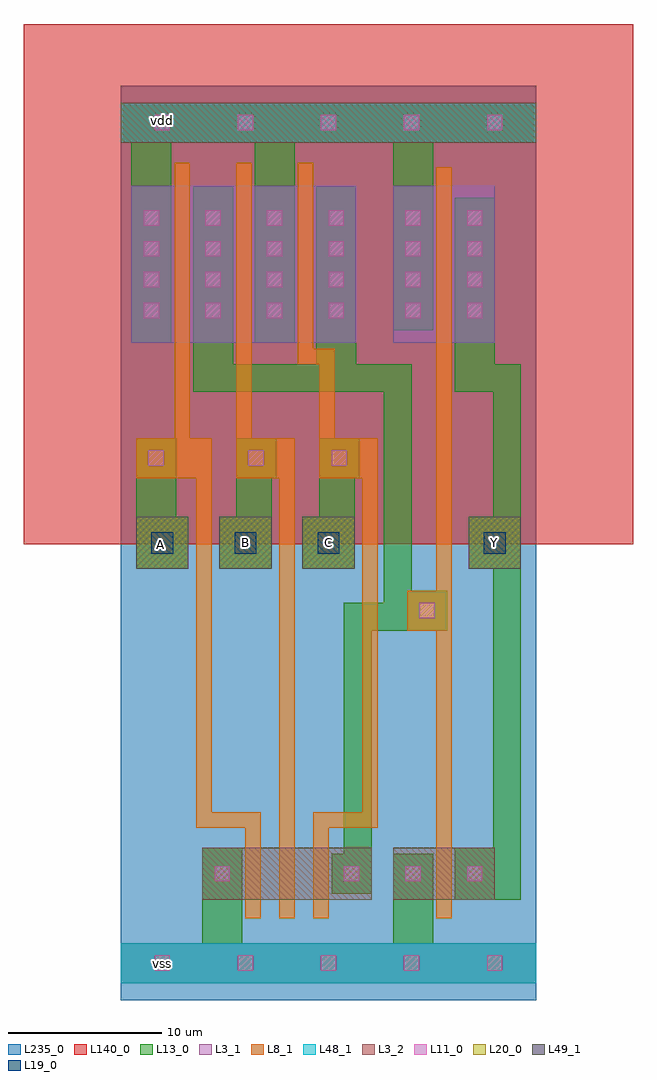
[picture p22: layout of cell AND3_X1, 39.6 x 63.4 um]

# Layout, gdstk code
import gdstk
lib = gdstk.Library(unit=1e-6, precision=1e-09)
def R(c, l, rs):  # rectangles x0, y0, x1, y1
    for r in rs: c.add(gdstk.rectangle(r[:2], r[2:], *l))
def A(c, l, x, y, w, h, nx, ny, dx, dy):  # array of equal rectangles
    R(c, l, [(x+i*dx, y+j*dy, x+i*dx+w, y+j*dy+h) for i in range(nx) for j in range(ny)])
def P(c, l, *ps):  # polygons
    for p in ps: c.add(gdstk.Polygon(p, *l))
L3_1 = (3, 1)
L3_2 = (3, 2)
L8_1 = (8, 1)
L11_0 = (11, 0)
L13_0 = (13, 0)
L19_0 = (19, 0)
L20_0 = (20, 0)
L48_1 = (48, 1)
L49_1 = (49, 1)
L140_0 = (140, 0)
L235_0 = (235, 0)

and3_x1 = lib.new_cell('AND3_X1')
R(and3_x1, L3_1, [(0,1.1,27,3.7), (0.7,42.7,15.3,52.9), (17.7,42.7,24.3,52.9)])
R(and3_x1, L3_2, [(5.3,6.5,16.3,9.9), (17.7,6.5,24.3,9.9), (0,55.7,27,58.3)])
P(and3_x1, L8_1, [(12.5,5.3),(12.5,12.2),(15.7,12.2),(15.7,33.9),(12.9,33.9),(12.9,41.3),(11.5,41.3),(11.5,54.4),(12.5,54.4),(12.5,42.3),(13.9,42.3),(13.9,36.5),(16.7,36.5),(16.7,11.2),(13.5,11.2),(13.5,5.3)],
  [(20.5,5.3),(20.5,24),(18.6,24),(18.6,26.6),(20.5,26.6),(20.5,54.1),(21.5,54.1),(21.5,5.3)],
  [(8.1,5.3),(8.1,11.2),(4.9,11.2),(4.9,33.9),(1,33.9),(1,36.5),(3.5,36.5),(3.5,54.4),(4.5,54.4),(4.5,36.5),(5.9,36.5),(5.9,12.2),(9.1,12.2),(9.1,5.3)],
  [(10.3,5.3),(10.3,33.9),(7.5,33.9),(7.5,54.4),(8.5,54.4),(8.5,36.5),(11.3,36.5),(11.3,5.3)])
A(and3_x1, L11_0, 13, 1.9, 1, 1, 3, 2, 5.4, 54.6)
A(and3_x1, L11_0, 14.5, 7.7, 1, 1, 3, 1, 4, 0)
A(and3_x1, L11_0, 1.5, 44.3, 1, 1, 4, 4, 4, 2)
A(and3_x1, L11_0, 18.5, 44.3, 1, 1, 1, 4, 0, 2)
A(and3_x1, L11_0, 22.5, 44.3, 1, 1, 1, 4, 0, 2)
R(and3_x1, L11_0, [(2.2,1.9,3.2,2.9), (7.6,1.9,8.6,2.9), (7.6,1.9,8.6,2.9), (13,1.9,14,2.9), (6.1,7.7,7.1,8.7), (19.4,24.8,20.4,25.8), (1.8,34.7,2.8,35.7), (8.3,34.7,9.3,35.7), (13.7,34.7,14.7,35.7), (2.2,56.5,3.2,57.5), (2.2,56.5,3.2,57.5), (7.6,56.5,8.6,57.5), (7.6,56.5,8.6,57.5), (7.6,56.5,8.6,57.5), (7.6,56.5,8.6,57.5), (13,56.5,14,57.5)])
R(and3_x1, L13_0, [(5.3,3.7,7.9,9.9), (17.7,3.7,20.3,9.5), (0.7,42.7,3.3,55.7), (8.7,42.7,11.3,55.7), (17.7,43.5,20.3,55.7), (0,55.7,27,58.3)])
P(and3_x1, L13_0, [(11.8,28),(11.8,31.4),(12.9,31.4),(12.9,36.5),(15.5,36.5),(15.5,33.9),(15.2,33.9),(15.2,28)],
  [(21.7,6.5),(21.7,9.9),(24.2,9.9),(24.2,28),(22.6,28),(22.6,31.4),(24.2,31.4),(24.2,39.5),(21.7,39.5),(21.7,52.1),(24.3,52.1),(24.3,41.3),(26,41.3),(26,6.5)],
  [(13.7,6.9),(13.7,9.5),(14.5,9.5),(14.5,25.8),(17.1,25.8),(17.1,39.5),(4.7,39.5),(4.7,52.9),(7.3,52.9),(7.3,41.3),(12.7,41.3),(12.7,52.9),(15.3,52.9),(15.3,41.3),(18.9,41.3),(18.9,26.6),(21.2,26.6),(21.2,24),(16.3,24),(16.3,6.9)],
  [(0,1.1),(0,3.7),(0.7,3.7),(3.3,3.7),(27,3.7),(27,1.1)],
  [(1,28),(1,36.5),(3.6,36.5),(3.6,31.4),(4.4,31.4),(4.4,28)],
  [(6.4,28),(6.4,31.4),(7.5,31.4),(7.5,36.5),(10.1,36.5),(10.1,33.9),(9.8,33.9),(9.8,28)])
A(and3_x1, L19_0, 2, 29, 1.4, 1.4, 3, 1, 5.4, 0)
R(and3_x1, L19_0, [(23.6,29,25,30.4)])
A(and3_x1, L20_0, 1, 28, 3.4, 3.4, 3, 1, 5.4, 0)
R(and3_x1, L20_0, [(22.6,28,26,31.4)])
R(and3_x1, L48_1, [(0,1.1,27,3.7), (0,55.7,27,58.3)])
A(and3_x1, L49_1, 1, 28, 3.4, 3.4, 3, 1, 5.4, 0)
R(and3_x1, L49_1, [(22.6,28,26,31.4)])
R(and3_x1, L140_0, [(-6.3,29.6,33.3,63.4)])
R(and3_x1, L235_0, [(0,0,27,59.4)])
and3_x1.add(gdstk.Label('Y', (24.3,29.7), layer=49, texttype=0))
and3_x1.add(gdstk.Label('C', (13.5,29.7), layer=49, texttype=0))
and3_x1.add(gdstk.Label('A', (2.6,29.6), layer=49, texttype=0))
and3_x1.add(gdstk.Label('B', (8.1,29.7), layer=49, texttype=0))
and3_x1.add(gdstk.Label('vss', (2.7,2.4), layer=48, texttype=0))
and3_x1.add(gdstk.Label('vdd', (2.7,57.1), layer=48, texttype=0))

lib.write_gds('AND3_X1.gds')
